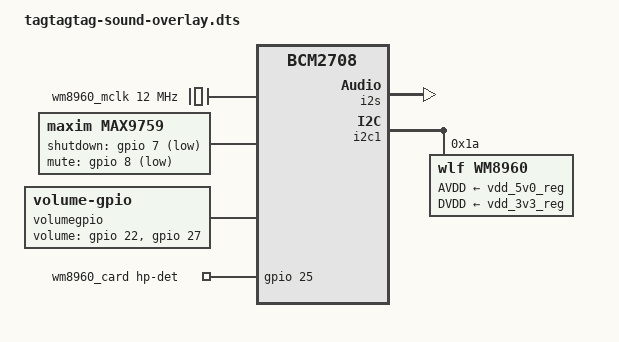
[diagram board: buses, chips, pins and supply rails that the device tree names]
/dts-v1/;
/plugin/;

/* dt-bindings/extcon/connectors.h */
#define EXTCON_JACK_LINE_OUT 23
#include </usr/src/linux-headers-4.19.57+/include/dt-bindings/gpio/gpio.h>

/ {
    compatible = "brcm,bcm2708";

	fragment@0 {
		target = <&gpio>;
		__overlay__ {
			gpio_max9759_shutdown_pin: gpio_max9759_shutdown_pin@7 {
				brcm,pins = <7>;
				brcm,function = <1>;	// out
			};
			gpio_max9759_mute_pin: gpio_max9759_mute_pin@8 {
				brcm,pins = <8>;
				brcm,function = <1>;	// out
			};
			gpio_line_out_detect_pin: gpio_line_out_detect_pin@25 {
				brcm,pins = <25>;
				brcm,function = <0>;	// in
				brcm,pull = <2>;	// pull up
			};
			gpio_physical_volume_1_pin: gpio_physical_volume_1_pin@22 {
				brcm,pins = <22>;
				brcm,function = <0>;	// in
			};
			gpio_physical_volume_2_pin: gpio_physical_volume_2_pin@27 {
				brcm,pins = <27>;
				brcm,function = <0>;	// in
			};
		};
	};

    fragment@1 {
        target = <&i2s>;
        __overlay__ {
            status = "okay";
        };
    };
    fragment@2 {
        target-path="/";
        __overlay__ {
            wm8960_mclk: wm8960_mclk {
                compatible = "fixed-clock";
                #clock-cells = <0>;
                clock-frequency = <12000000>;
            };
        };
    };
    fragment@3 {
        target = <&i2c1>;
        __overlay__ {
            #address-cells = <1>;
            #size-cells = <0>;
            status = "okay";

            wm8960: wm8960{
                compatible = "wlf,wm8960";
                reg = <0x1a>;
                #sound-dai-cells = <0>;
                AVDD-supply = <&vdd_5v0_reg>;
                DVDD-supply = <&vdd_3v3_reg>;
            };
        };
    };
    fragment@4 {
        target-path="/";
        __overlay__ {
            max9759: analog-amplifier {
                compatible = "maxim,max9759";
                shutdown-gpios = <&gpio 7 1>;
                mute-gpios = <&gpio 8 1>;

                // Declare a single pinctrl state (referencing the one declared above) and name it
                // default, so it is activated automatically.
                pinctrl-names = "default";
                pinctrl-0 = <&gpio_max9759_shutdown_pin &gpio_max9759_mute_pin>;
            };
        };
    };
    fragment@5 {
        target-path="/";
        __overlay__ {
            volumegpio: volume-button {
                compatible = "linux,volume-gpio";
                volume-gpios = <&gpio 22 0 &gpio 27 0>;

                // Declare a single pinctrl state (referencing the one declared above) and name it
                // default, so it is activated automatically.
                pinctrl-names = "default";
                pinctrl-0 = <&gpio_physical_volume_1_pin &gpio_physical_volume_2_pin>;
            };
        };
    };
    fragment@6 {
        target = <&sound>;
        wm8960_card: __overlay__ {
            compatible = "simple-audio-card";
            simple-audio-card,format = "i2s";
            simple-audio-card,name = "tagtagtag-sound"; 
            status = "okay";
            simple-audio-card,widgets =
                "Microphone", "Onboard Left Microphone",
                "Microphone", "Onboard Right Microphone",
                "Microphone", "External Microphone",
                "Headphone", "Headphones",
                "Speaker", "Speaker (tag)",
                "Speaker", "Speaker (tagtag)";
            simple-audio-card,routing =
                "Headphones", "OUT3",
                // On tag, speaker is routed from right channel of speaker
                "Speaker (tag)", "SPK_RP",
                "Speaker (tag)", "SPK_RN",
                // On tagtag, left and right channels for headphones are merged
                // and are routed to Speaker through amplifier.
                "INL", "HP_L",
                "INR", "HP_R",
                "Speaker (tagtag)", "OUTL",
                "Speaker (tagtag)", "OUTR",
                "LINPUT1", "Onboard Left Microphone",
                "RINPUT1", "Onboard Right Microphone",
                "LINPUT1", "External Microphone",
                "LINPUT2", "External Microphone";
            simple-audio-card,aux-devs = <&max9759 &volumegpio>;
            simple-audio-card,hp-det-gpio = <&gpio 25 0>;
            pinctrl-names = "default";
            pinctrl-0 = <&gpio_line_out_detect_pin>;
            simple-audio-card,cpu {
                sound-dai = <&i2s>;
            };
            dailink0_slave: simple-audio-card,codec {
                sound-dai = <&wm8960>;
                clocks = <&wm8960_mclk>;
                clock-names = "mclk";
            };
        };
    };
    __overrides__ {
        alsaname = <&wm8960_card>,"simple-audio-card,name";
    };
};
